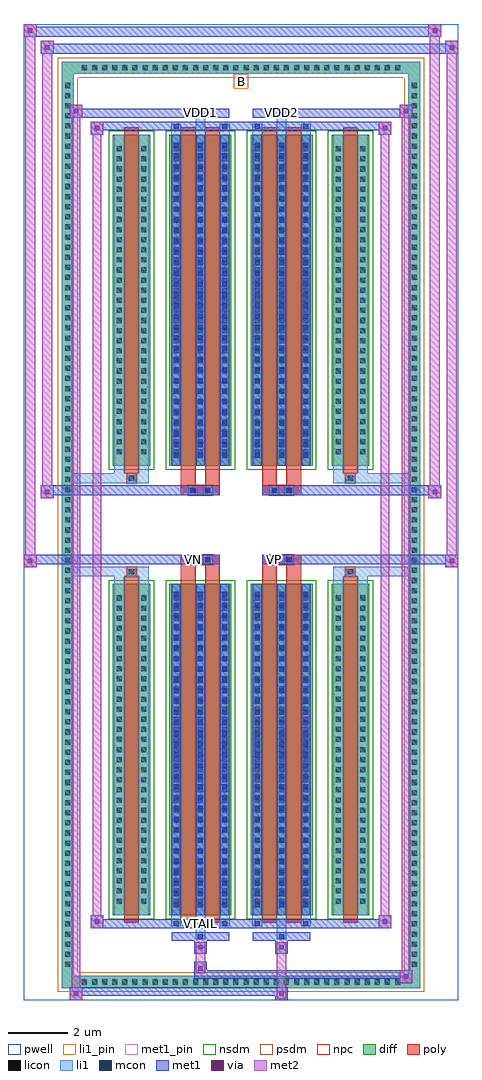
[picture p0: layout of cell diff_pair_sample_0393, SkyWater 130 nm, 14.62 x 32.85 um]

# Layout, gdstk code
import gdstk
lib = gdstk.Library(unit=1e-6, precision=5e-09)
def R(c, l, rs):  # rectangles x0, y0, x1, y1
    for r in rs: c.add(gdstk.rectangle(r[:2], r[2:], *l))
def A(c, l, x, y, w, h, nx, ny, dx, dy):  # array of equal rectangles
    R(c, l, [(x+i*dx, y+j*dy, x+i*dx+w, y+j*dy+h) for i in range(nx) for j in range(ny)])
def P(c, l, *ps):  # polygons
    for p in ps: c.add(gdstk.Polygon(p, *l))
pwell = (64, 44)
diff = (65, 20)
poly = (66, 20)
licon = (66, 44)
li1_pin = (67, 16)
li1 = (67, 20)
mcon = (67, 44)
met1_pin = (68, 16)
met1 = (68, 20)
via = (68, 44)
met2 = (69, 20)
nsdm = (93, 44)
psdm = (94, 20)
npc = (95, 20)

diff_pair_sample_0393 = lib.new_cell('diff_pair_sample_0393')
R(diff_pair_sample_0393, pwell, [(-7.31,-15.99,7.31,16.86), (-4.63,-14.18,-0.01,-0.8), (0.01,-14.18,4.63,-0.8), (-4.63,0.8,-0.01,14.18), (0.01,0.8,4.63,14.18)])
A(diff_pair_sample_0393, diff, -5.475, -15.59, 0.41, 0.41, 32, 2, 0.34, 30.77)
A(diff_pair_sample_0393, diff, -6.04, -14.995, 0.41, 0.41, 1, 88, 0, 0.34)
A(diff_pair_sample_0393, diff, 5.63, -14.995, 0.41, 0.41, 1, 88, 0, 0.34)
R(diff_pair_sample_0393, diff, [(-5.475,-15.59,5.475,-15.18), (-6.04,-14.995,-5.63,14.995), (5.63,-14.995,6.04,14.995), (-4.32,-13.135,-3.05,-1.985), (-2.41,-13.135,-0.32,-1.985), (0.32,-13.135,2.41,-1.985), (3.05,-13.135,4.32,-1.985), (-4.32,1.985,-3.05,13.135), (-2.41,1.985,-0.32,13.135), (0.32,1.985,2.41,13.135), (3.05,1.985,4.32,13.135), (-5.475,15.18,5.475,15.59)])
P(diff_pair_sample_0393, diff, [(6.04,15.59),(-6.04,15.59),(-6.04,-15.18),(-5.63,-15.18),(-5.63,15.18),(5.63,15.18),(5.63,-15.18),(-5.63,-15.18),(-6.04,-15.18),(-6.04,-15.59),(6.04,-15.59)])
R(diff_pair_sample_0393, poly, [(-3.93,-13.385,-3.44,-1.735), (-2.02,-13.385,-1.53,-1.735), (-1.2,-13.385,-0.71,-1.735), (0.71,-13.385,1.2,-1.735), (1.53,-13.385,2.02,-1.735), (3.44,-13.385,3.93,-1.735), (-3.85,-1.735,-3.52,-1.405), (-3.85,-1.735,-3.52,-1.405), (-2.02,-1.735,-1.53,-1.33), (-1.2,-1.735,-0.71,-1.33), (0.71,-1.735,1.2,-1.33), (1.53,-1.735,2.02,-1.33), (3.52,-1.735,3.85,-1.405), (3.52,-1.735,3.85,-1.405), (-2.02,-1.33,-0.71,-1), (-1.78,-1.33,-1.45,-1), (-1.28,-1.33,-0.95,-1), (0.71,-1.33,2.02,-1), (0.95,-1.33,1.28,-1), (1.45,-1.33,1.78,-1), (-2.02,1,-0.71,1.33), (-1.78,1,-1.45,1.33), (-1.28,1,-0.95,1.33), (0.71,1,2.02,1.33), (0.95,1,1.28,1.33), (1.45,1,1.78,1.33), (-2.02,1.33,-1.53,1.735), (-1.2,1.33,-0.71,1.735), (0.71,1.33,1.2,1.735), (1.53,1.33,2.02,1.735), (-3.85,1.405,-3.52,1.735), (-3.85,1.405,-3.52,1.735), (3.52,1.405,3.85,1.735), (3.52,1.405,3.85,1.735), (-3.93,1.735,-3.44,13.385), (-2.02,1.735,-1.53,13.385), (-1.2,1.735,-0.71,13.385), (0.71,1.735,1.2,13.385), (1.53,1.735,2.02,13.385), (3.44,1.735,3.93,13.385)])
A(diff_pair_sample_0393, licon, -5.355, -15.47, 0.17, 0.17, 32, 2, 0.34, 30.77)
A(diff_pair_sample_0393, licon, -5.92, -14.875, 0.17, 0.17, 1, 88, 0, 0.34)
A(diff_pair_sample_0393, licon, 5.75, -14.875, 0.17, 0.17, 1, 88, 0, 0.34)
A(diff_pair_sample_0393, licon, -4.18, -12.745, 0.17, 0.17, 1, 31, 0, 0.34)
A(diff_pair_sample_0393, licon, -3.36, -12.745, 0.17, 0.17, 1, 31, 0, 0.34)
A(diff_pair_sample_0393, licon, -2.27, -12.745, 0.17, 0.17, 3, 31, 0.82, 0.34)
A(diff_pair_sample_0393, licon, 0.46, -12.745, 0.17, 0.17, 3, 31, 0.82, 0.34)
A(diff_pair_sample_0393, licon, 3.19, -12.745, 0.17, 0.17, 1, 31, 0, 0.34)
A(diff_pair_sample_0393, licon, 4.01, -12.745, 0.17, 0.17, 1, 31, 0, 0.34)
A(diff_pair_sample_0393, licon, -4.18, 2.375, 0.17, 0.17, 1, 31, 0, 0.34)
A(diff_pair_sample_0393, licon, -3.36, 2.375, 0.17, 0.17, 1, 31, 0, 0.34)
A(diff_pair_sample_0393, licon, -2.27, 2.375, 0.17, 0.17, 3, 31, 0.82, 0.34)
A(diff_pair_sample_0393, licon, 0.46, 2.375, 0.17, 0.17, 3, 31, 0.82, 0.34)
A(diff_pair_sample_0393, licon, 3.19, 2.375, 0.17, 0.17, 1, 31, 0, 0.34)
A(diff_pair_sample_0393, licon, 4.01, 2.375, 0.17, 0.17, 1, 31, 0, 0.34)
R(diff_pair_sample_0393, licon, [(-3.77,-1.655,-3.6,-1.485), (3.6,-1.655,3.77,-1.485), (-1.7,-1.25,-1.53,-1.08), (-1.2,-1.25,-1.03,-1.08), (1.03,-1.25,1.2,-1.08), (1.53,-1.25,1.7,-1.08), (-1.7,1.08,-1.53,1.25), (-1.2,1.08,-1.03,1.25), (1.03,1.08,1.2,1.25), (1.53,1.08,1.7,1.25), (-3.77,1.485,-3.6,1.655), (3.6,1.485,3.77,1.655)])
R(diff_pair_sample_0393, li1_pin, [(-0.25,14.68,0.25,15.18)])
A(diff_pair_sample_0393, li1, -5.435, -15.55, 0.33, 0.33, 32, 2, 0.34, 30.77)
A(diff_pair_sample_0393, li1, -6, -14.955, 0.33, 0.33, 1, 88, 0, 0.34)
A(diff_pair_sample_0393, li1, 5.67, -14.955, 0.33, 0.33, 1, 88, 0, 0.34)
A(diff_pair_sample_0393, li1, -2.35, -13.135, 0.33, 11.15, 3, 2, 0.82, 15.12)
A(diff_pair_sample_0393, li1, 0.38, -13.135, 0.33, 11.15, 3, 2, 0.82, 15.12)
A(diff_pair_sample_0393, li1, -2.27, -12.865, 0.17, 0.17, 3, 30, 0.82, 0.36)
A(diff_pair_sample_0393, li1, -2.27, -12.865, 0.17, 10.61, 3, 2, 0.82, 15.12)
A(diff_pair_sample_0393, li1, 0.46, -12.865, 0.17, 0.17, 3, 30, 0.82, 0.36)
A(diff_pair_sample_0393, li1, 0.46, -12.865, 0.17, 10.61, 3, 2, 0.82, 15.12)
A(diff_pair_sample_0393, li1, -4.26, -12.825, 0.33, 0.33, 1, 31, 0, 0.34)
A(diff_pair_sample_0393, li1, -3.44, -12.825, 0.33, 0.33, 1, 31, 0, 0.34)
A(diff_pair_sample_0393, li1, -2.35, -12.825, 0.33, 0.33, 3, 31, 0.82, 0.34)
A(diff_pair_sample_0393, li1, 0.38, -12.825, 0.33, 0.33, 3, 31, 0.82, 0.34)
A(diff_pair_sample_0393, li1, 3.11, -12.825, 0.33, 0.33, 1, 31, 0, 0.34)
A(diff_pair_sample_0393, li1, 3.93, -12.825, 0.33, 0.33, 1, 31, 0, 0.34)
A(diff_pair_sample_0393, li1, -2.27, 2.255, 0.17, 0.17, 3, 30, 0.82, 0.36)
A(diff_pair_sample_0393, li1, 0.46, 2.255, 0.17, 0.17, 3, 30, 0.82, 0.36)
A(diff_pair_sample_0393, li1, -4.26, 2.295, 0.33, 0.33, 1, 31, 0, 0.34)
A(diff_pair_sample_0393, li1, -3.44, 2.295, 0.33, 0.33, 1, 31, 0, 0.34)
A(diff_pair_sample_0393, li1, -2.35, 2.295, 0.33, 0.33, 3, 31, 0.82, 0.34)
A(diff_pair_sample_0393, li1, 0.38, 2.295, 0.33, 0.33, 3, 31, 0.82, 0.34)
A(diff_pair_sample_0393, li1, 3.11, 2.295, 0.33, 0.33, 1, 31, 0, 0.34)
A(diff_pair_sample_0393, li1, 3.93, 2.295, 0.33, 0.33, 1, 31, 0, 0.34)
R(diff_pair_sample_0393, li1, [(-6.04,-15.59,-5.63,-15.18), (-6.04,-15.59,-5.63,-15.18), (-5.63,-15.59,5.63,-15.18), (5.63,-15.59,6.04,-15.18), (5.63,-15.59,6.04,-15.18), (-6.04,-15.18,-5.63,15.18), (5.63,-15.18,6.04,15.18), (-1.53,-13.94,-1.2,-13.135), (-1.45,-13.94,-1.28,-13.77), (1.2,-13.94,1.53,-13.135), (1.28,-13.94,1.45,-13.77), (-2.35,-13.51,-2.02,-13.135), (-2.27,-13.51,-2.1,-13.34), (-0.71,-13.51,-0.38,-13.135), (-0.63,-13.51,-0.46,-13.34), (0.38,-13.51,0.71,-13.135), (0.46,-13.51,0.63,-13.34), (2.02,-13.51,2.35,-13.135), (2.1,-13.51,2.27,-13.34), (-4.26,-13.135,-3.93,-1.985), (-3.44,-13.135,-3.11,-1.985), (3.11,-13.135,3.44,-1.985), (3.93,-13.135,4.26,-1.985), (-4.26,-1.985,-3.93,-1.405), (-3.44,-1.985,-3.11,-1.405), (3.11,-1.985,3.44,-1.405), (3.93,-1.985,4.26,-1.405), (-6.04,-1.735,-3.85,-1.405), (-4.26,-1.735,-3.85,-1.405), (-3.85,-1.735,-3.52,-1.405), (-3.52,-1.735,-3.11,-1.405), (3.11,-1.735,3.52,-1.405), (3.52,-1.735,3.85,-1.405), (3.52,-1.735,6.04,-1.405), (3.85,-1.735,4.26,-1.405), (-1.78,-1.33,-1.45,-1), (-1.28,-1.33,-0.95,-1), (0.95,-1.33,1.28,-1), (1.45,-1.33,1.78,-1), (-1.78,1,-1.45,1.33), (-1.28,1,-0.95,1.33), (0.95,1,1.28,1.33), (1.45,1,1.78,1.33), (-6.04,1.405,-3.85,1.735), (-4.26,1.405,-3.85,1.735), (-4.26,1.405,-3.93,1.985), (-3.85,1.405,-3.52,1.735), (-3.52,1.405,-3.11,1.735), (-3.44,1.405,-3.11,1.985), (3.11,1.405,3.52,1.735), (3.11,1.405,3.44,1.985), (3.52,1.405,3.85,1.735), (3.52,1.405,6.04,1.735), (3.85,1.405,4.26,1.735), (3.93,1.405,4.26,1.985), (-4.26,1.985,-3.93,13.135), (-3.44,1.985,-3.11,13.135), (3.11,1.985,3.44,13.135), (3.93,1.985,4.26,13.135), (-2.35,13.135,-2.02,13.51), (-1.53,13.135,-1.2,13.94), (-0.71,13.135,-0.38,13.51), (0.38,13.135,0.71,13.51), (1.2,13.135,1.53,13.94), (2.02,13.135,2.35,13.51), (-2.27,13.34,-2.1,13.51), (-0.63,13.34,-0.46,13.51), (0.46,13.34,0.63,13.51), (2.1,13.34,2.27,13.51), (-1.45,13.77,-1.28,13.94), (1.28,13.77,1.45,13.94), (-6.04,15.18,-5.63,15.59), (-6.04,15.18,-5.63,15.59), (-5.63,15.18,5.63,15.59), (5.63,15.18,6.04,15.59), (5.63,15.18,6.04,15.59)])
A(diff_pair_sample_0393, mcon, -2.27, -12.865, 0.17, 0.17, 3, 30, 0.82, 0.36)
A(diff_pair_sample_0393, mcon, 0.46, -12.865, 0.17, 0.17, 3, 30, 0.82, 0.36)
A(diff_pair_sample_0393, mcon, -2.27, 2.255, 0.17, 0.17, 3, 30, 0.82, 0.36)
A(diff_pair_sample_0393, mcon, 0.46, 2.255, 0.17, 0.17, 3, 30, 0.82, 0.36)
R(diff_pair_sample_0393, mcon, [(-1.45,-13.94,-1.28,-13.77), (1.28,-13.94,1.45,-13.77), (-2.27,-13.51,-2.1,-13.34), (-0.63,-13.51,-0.46,-13.34), (0.46,-13.51,0.63,-13.34), (2.1,-13.51,2.27,-13.34), (-1.7,-1.25,-1.53,-1.08), (-1.2,-1.25,-1.03,-1.08), (1.03,-1.25,1.2,-1.08), (1.53,-1.25,1.7,-1.08), (-1.7,1.08,-1.53,1.25), (-1.2,1.08,-1.03,1.25), (1.03,1.08,1.2,1.25), (1.53,1.08,1.7,1.25), (-2.27,13.34,-2.1,13.51), (-0.63,13.34,-0.46,13.51), (0.46,13.34,0.63,13.51), (2.1,13.34,2.27,13.51), (-1.45,13.77,-1.28,13.94), (1.28,13.77,1.45,13.94)])
R(diff_pair_sample_0393, met1_pin, [(-1.5,-13.55,-1.23,-13.28), (-1.75,-1.29,-1.48,-1.02), (0.98,-1.29,1.25,-1.02), (-1.5,13.73,-1.23,14), (1.23,13.73,1.5,14)])
A(diff_pair_sample_0393, met1, -2.33, -13.135, 0.29, 11.15, 3, 2, 0.82, 15.12)
A(diff_pair_sample_0393, met1, 0.4, -13.135, 0.29, 11.15, 3, 2, 0.82, 15.12)
A(diff_pair_sample_0393, met1, -2.33, -12.925, 0.29, 0.29, 3, 30, 0.82, 0.36)
A(diff_pair_sample_0393, met1, 0.4, -12.925, 0.29, 0.29, 3, 30, 0.82, 0.36)
A(diff_pair_sample_0393, met1, -2.33, 2.195, 0.29, 0.29, 3, 30, 0.82, 0.36)
A(diff_pair_sample_0393, met1, 0.4, 2.195, 0.29, 0.29, 3, 30, 0.82, 0.36)
R(diff_pair_sample_0393, met1, [(-5.77,-15.99,-5.34,-15.56), (1.15,-15.99,1.58,-15.56), (-5.77,-15.85,1.58,-15.56), (5.34,-15.42,5.77,-14.99), (-1.58,-15.28,5.77,-14.99), (-1.58,-15.14,-1.15,-14.71), (-1.58,-14.43,-1.15,-14), (1.15,-14.43,1.58,-14), (-2.33,-14,-0.4,-13.71), (-1.51,-14,-1.22,-13.71), (0.4,-14,2.33,-13.71), (1.22,-14,1.51,-13.71), (-5.06,-13.57,-4.63,-13.14), (-5.06,-13.57,-2.33,-13.28), (-2.33,-13.57,-2.04,-13.28), (-2.33,-13.57,-0.4,-13.28), (-0.69,-13.57,-0.4,-13.28), (-0.4,-13.57,0.4,-13.28), (0.4,-13.57,0.69,-13.28), (0.4,-13.57,2.33,-13.28), (2.04,-13.57,2.33,-13.28), (2.33,-13.57,5.06,-13.28), (4.63,-13.57,5.06,-13.14), (-7.31,-1.43,-6.88,-1), (6.88,-1.43,7.31,-1), (-7.31,-1.33,-0.71,-1), (-2.02,-1.33,-0.71,-1), (0.71,-1.33,2.02,-1), (0.71,-1.33,7.31,-1), (-1.76,-1.31,-1.47,-1.02), (-1.26,-1.31,-0.97,-1.02), (0.97,-1.31,1.26,-1.02), (1.47,-1.31,1.76,-1.02), (-6.74,0.9,-6.31,1.33), (6.31,0.9,6.74,1.33), (-6.74,1,-2.02,1.33), (-2.02,1,-0.71,1.33), (0.71,1,2.02,1.33), (2.02,1,6.74,1.33), (-1.76,1.02,-1.47,1.31), (-1.26,1.02,-0.97,1.31), (0.97,1.02,1.26,1.31), (1.47,1.02,1.76,1.31), (-5.06,13.14,-4.63,13.57), (4.63,13.14,5.06,13.57), (-5.06,13.28,-2.33,13.57), (-2.33,13.28,-2.04,13.57), (-2.33,13.28,-0.4,13.57), (-0.69,13.28,-0.4,13.57), (-0.4,13.28,0.4,13.57), (0.4,13.28,0.69,13.57), (0.4,13.28,2.33,13.57), (2.04,13.28,2.33,13.57), (2.33,13.28,5.06,13.57), (-5.77,13.71,-5.34,14.14), (-5.77,13.71,-2.33,14), (-2.33,13.71,-0.4,14), (-1.51,13.71,-1.22,14), (0.4,13.71,2.33,14), (1.22,13.71,1.51,14), (2.33,13.71,5.77,14), (5.34,13.71,5.77,14.14), (-6.74,15.86,-6.31,16.29), (-6.74,15.86,-4.63,16.19), (-4.63,15.86,4.63,16.19), (4.63,15.86,7.31,16.19), (6.88,15.86,7.31,16.29), (-7.31,16.43,-6.88,16.86), (-7.31,16.43,-4.63,16.76), (-4.63,16.43,4.63,16.76), (4.63,16.43,6.74,16.76), (6.31,16.43,6.74,16.86)])
R(diff_pair_sample_0393, via, [(-5.63,-15.85,-5.48,-15.7), (1.29,-15.85,1.44,-15.7), (5.48,-15.28,5.63,-15.13), (-1.44,-15,-1.29,-14.85), (-1.44,-14.29,-1.29,-14.14), (1.29,-14.29,1.44,-14.14), (-4.92,-13.43,-4.77,-13.28), (4.77,-13.43,4.92,-13.28), (-7.17,-1.29,-7.02,-1.14), (7.02,-1.29,7.17,-1.14), (-6.6,1.04,-6.45,1.19), (6.45,1.04,6.6,1.19), (-4.92,13.28,-4.77,13.43), (4.77,13.28,4.92,13.43), (-5.63,13.85,-5.48,14), (5.48,13.85,5.63,14), (-6.6,16,-6.45,16.15), (7.02,16,7.17,16.15), (-7.17,16.57,-7.02,16.72), (6.45,16.57,6.6,16.72)])
R(diff_pair_sample_0393, met2, [(-5.77,-15.99,-5.34,-15.56), (-5.7,-15.99,-5.41,14.14), (-5.41,-15.99,-5.34,-15.56), (-5.72,-15.94,-5.39,-15.61), (1.2,-15.94,1.53,-15.61), (1.2,-15.61,1.53,-14.38), (5.34,-15.42,5.77,-14.99), (5.41,-15.42,5.7,14.14), (5.7,-15.42,5.77,-14.99), (5.39,-15.37,5.72,-15.04), (-1.53,-15.09,-1.2,-14.76), (-1.53,-14.76,-1.2,-14.38), (-1.53,-14.38,-1.2,-14.05), (1.2,-14.38,1.53,-14.05), (-5.06,-13.57,-4.63,-13.14), (-4.99,-13.57,-4.7,13.57), (-4.7,-13.57,-4.63,-13.14), (4.63,-13.57,5.06,-13.14), (4.7,-13.57,4.99,13.57), (4.99,-13.57,5.06,-13.14), (-5.01,-13.52,-4.68,-13.19), (4.68,-13.52,5.01,-13.19), (-7.31,-1.43,-6.88,-1), (-7.26,-1.43,-6.93,16.86), (-6.93,-1.43,-6.88,-1), (6.88,-1.43,7.31,-1), (6.93,-1.43,7.26,16.29), (7.26,-1.43,7.31,-1), (-7.26,-1.38,-6.93,-1.05), (6.93,-1.38,7.26,-1.05), (-6.74,0.9,-6.31,1.33), (-6.69,0.9,-6.36,16.29), (-6.36,0.9,-6.31,1.33), (6.31,0.9,6.74,1.33), (6.36,0.9,6.69,16.86), (6.69,0.9,6.74,1.33), (-6.69,0.95,-6.36,1.28), (6.36,0.95,6.69,1.28), (-5.06,13.14,-4.63,13.57), (-4.7,13.14,-4.63,13.57), (4.63,13.14,5.06,13.57), (4.99,13.14,5.06,13.57), (-5.01,13.19,-4.68,13.52), (4.68,13.19,5.01,13.52), (-5.77,13.71,-5.34,14.14), (-5.41,13.71,-5.34,14.14), (5.34,13.71,5.77,14.14), (5.7,13.71,5.77,14.14), (-5.72,13.76,-5.39,14.09), (5.39,13.76,5.72,14.09), (-6.74,15.86,-6.31,16.29), (-6.36,15.86,-6.31,16.29), (6.88,15.86,7.31,16.29), (7.26,15.86,7.31,16.29), (-6.69,15.91,-6.36,16.24), (6.93,15.91,7.26,16.24), (-7.31,16.43,-6.88,16.86), (-6.93,16.43,-6.88,16.86), (6.31,16.43,6.74,16.86), (6.69,16.43,6.74,16.86), (-7.26,16.48,-6.93,16.81), (6.36,16.48,6.69,16.81)])
R(diff_pair_sample_0393, nsdm, [(-4.45,-13.265,-2.92,-1.855), (-2.54,-13.265,-0.19,-1.855), (0.19,-13.265,2.54,-1.855), (2.92,-13.265,4.45,-1.855), (-4.45,1.855,-2.92,13.265), (-2.54,1.855,-0.19,13.265), (0.19,1.855,2.54,13.265), (2.92,1.855,4.45,13.265)])
P(diff_pair_sample_0393, psdm, [(6.17,15.72),(-6.17,15.72),(-6.17,-15.05),(-5.5,-15.05),(-5.5,15.05),(5.5,15.05),(5.5,-15.05),(-5.5,-15.05),(-6.17,-15.05),(-6.17,-15.72),(6.17,-15.72)])
R(diff_pair_sample_0393, npc, [(-3.87,-1.755,-3.5,-1.385), (3.5,-1.755,3.87,-1.385), (-1.8,-1.35,-1.43,-0.98), (-1.8,-1.35,-0.93,-0.98), (-1.8,-1.35,-0.93,-0.98), (-1.3,-1.35,-0.93,-0.98), (0.93,-1.35,1.3,-0.98), (0.93,-1.35,1.8,-0.98), (0.93,-1.35,1.8,-0.98), (1.43,-1.35,1.8,-0.98), (-1.8,0.98,-1.43,1.35), (-1.8,0.98,-0.93,1.35), (-1.8,0.98,-0.93,1.35), (-1.3,0.98,-0.93,1.35), (0.93,0.98,1.3,1.35), (0.93,0.98,1.8,1.35), (0.93,0.98,1.8,1.35), (1.43,0.98,1.8,1.35), (-3.87,1.385,-3.5,1.755), (3.5,1.385,3.87,1.755)])
diff_pair_sample_0393.add(gdstk.Label('VTAIL', (-1.365,-13.415), layer=68, texttype=5))
diff_pair_sample_0393.add(gdstk.Label('VN', (-1.615,-1.155), layer=68, texttype=5))
diff_pair_sample_0393.add(gdstk.Label('VP', (1.115,-1.155), layer=68, texttype=5))
diff_pair_sample_0393.add(gdstk.Label('B', (0,14.93), layer=67, texttype=5))
diff_pair_sample_0393.add(gdstk.Label('VDD2', (1.365,13.865), layer=68, texttype=5))
diff_pair_sample_0393.add(gdstk.Label('VDD1', (-1.365,13.865), layer=68, texttype=5))

lib.write_gds('diff_pair_sample_0393.gds')
